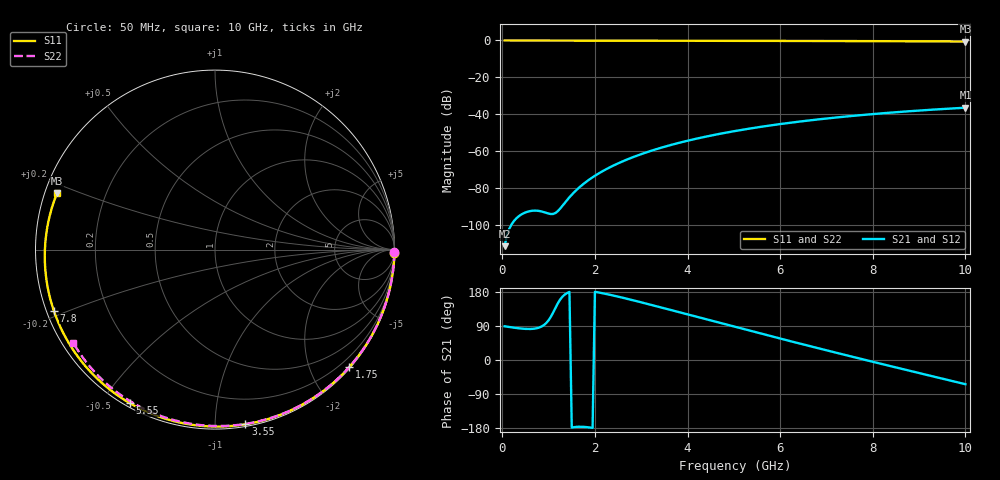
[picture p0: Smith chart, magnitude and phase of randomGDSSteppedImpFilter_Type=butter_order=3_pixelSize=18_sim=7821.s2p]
! freq	dB(S11)	phase(S11)	dB(S12)	phase(S12)
!  dB(S21)	phase(S21)	dB(S22)	phase(S22)
!S-par simulation data
#  GHz  S  DB  R 50
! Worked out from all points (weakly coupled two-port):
!   200 points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, 50 MHz to 10 GHz, reference 50 ohm
!   highest |S21| = -36.46 dB at 10 GHz (marker M1); lowest = -111.5 dB at 50 MHz (marker M2)
!   lowest |S11| = -0.6 dB at 10 GHz (marker M3), VSWR 29.61, Z = 1.74 + j8.69 ohm
!   |S11| at or under -10 dB: nowhere
!   |S22| runs from -0.5 to 0.0 dB; largest |S21 - S12| = 0
!   S11 on the Smith chart (normalised r, x): 50 MHz: 0, -95; 1.75 GHz: 0.02, -2.67; 3.55 GHz: 0.01, -1.19; 5.55 GHz: 0.01, -0.59; 7.8 GHz: 0.02, -0.18; 10 GHz: 0.03, +0.17
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0.05  -0.00 -1.2  -111.50 89.0  -111.50 89.0  -0.00 -0.9
0.4  -0.01 -9.6  -94.50 83.1  -94.50 83.1  -0.01 -6.8
0.8  -0.02 -19.1  -92.43 85.8  -92.43 85.8  -0.02 -13.6
1.2  -0.04 -28.4  -92.49 149.8  -92.49 149.8  -0.03 -20.3
1.65  -0.05 -38.8  -79.94 -176.2  -79.94 -176.2  -0.04 -27.8
1.75  -0.05 -41.1  -77.82 -176.4  -77.82 -176.4  -0.04 -29.4
2.05  -0.06 -47.9  -72.56 178.9  -72.56 178.9  -0.04 -34.3
2.25  -0.07 -52.3  -69.70 174.1  -69.70 174.1  -0.05 -37.6
2.45  -0.07 -56.8  -67.21 168.6  -67.21 168.6  -0.05 -40.8
2.9  -0.09 -66.5  -62.52 155.3  -62.52 155.3  -0.06 -48.0
3.4  -0.10 -77.0  -58.37 139.6  -58.37 139.6  -0.07 -55.8
3.55  -0.11 -80.1  -57.28 134.8  -57.28 134.8  -0.08 -58.2
4.3  -0.13 -95.2  -52.64 110.7  -52.64 110.7  -0.10 -69.5
5.05  -0.16 -109.6  -48.98 86.6  -48.98 86.6  -0.12 -80.6
5.55  -0.19 -118.9  -46.94 70.8  -46.94 70.8  -0.14 -87.7
6.15  -0.23 -129.8  -44.82 51.9  -44.82 51.9  -0.17 -96.1
6.7  -0.26 -139.7  -43.14 34.8  -43.14 34.8  -0.20 -103.6
7.25  -0.30 -149.5  -41.66 17.9  -41.66 17.9  -0.24 -111.0
7.8  -0.35 -159.2  -40.35 1.3  -40.35 1.3  -0.28 -118.3
8.35  -0.40 -169.1  -39.19 -15.2  -39.19 -15.2  -0.32 -125.4
9.2  -0.49 175.4  -37.65 -40.3  -37.65 -40.3  -0.40 -136.4
10  -0.59 160.3  -36.46 -63.9  -36.46 -63.9  -0.49 -146.7
